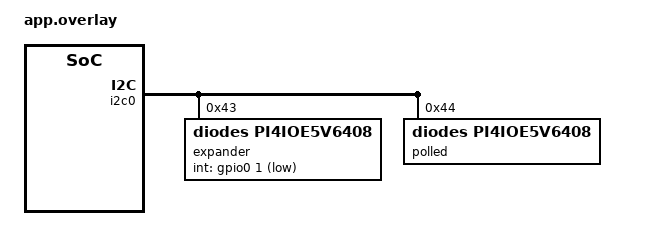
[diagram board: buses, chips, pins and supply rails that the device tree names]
/*
 * SPDX-FileCopyrightText: Copyright The Zephyr Project Contributors
 * SPDX-License-Identifier: Apache-2.0
 */

&i2c0 {
	status = "okay";

	expander: gpio@43 {
		compatible = "diodes,pi4ioe5v6408";
		reg = <0x43>;
		gpio-controller;
		#gpio-cells = <2>;
		ngpios = <8>;
		int-gpios = <&gpio0 1 GPIO_ACTIVE_LOW>;
	};

	polled: gpio@44 {
		compatible = "diodes,pi4ioe5v6408";
		reg = <0x44>;
		gpio-controller;
		#gpio-cells = <2>;
		ngpios = <8>;
	};
};
